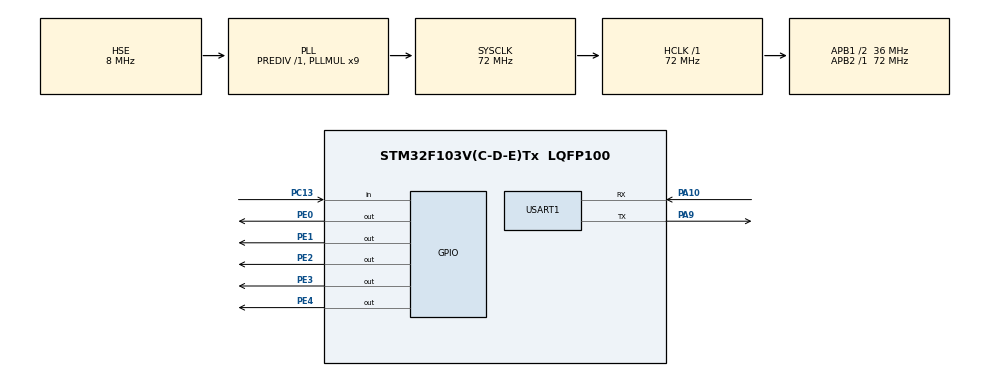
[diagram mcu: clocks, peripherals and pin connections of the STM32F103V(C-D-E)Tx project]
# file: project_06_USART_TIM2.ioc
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Mcu.Family=STM32F1
Mcu.Name=STM32F103V(C-D-E)Tx
Mcu.Package=LQFP100
NVIC.PriorityGroup=NVIC_PRIORITYGROUP_4
NVIC.TIM2_IRQn=true\:0\:0\:false\:false\:true\:true\:true
NVIC.USART1_IRQn=true\:0\:0\:false\:false\:true\:true\:true
OSC_IN.Mode=HSE-External-Oscillator
OSC_IN.Signal=RCC_OSC_IN
OSC_OUT.Mode=HSE-External-Oscillator
OSC_OUT.Signal=RCC_OSC_OUT
PA10.Mode=Asynchronous
PA10.Signal=USART1_RX
PA13.Mode=Serial_Wire
PA13.Signal=SYS_JTMS-SWDIO
PA14.Mode=Serial_Wire
PA14.Signal=SYS_JTCK-SWCLK
PA9.Mode=Asynchronous
PA9.Signal=USART1_TX
PC13-TAMPER-RTC.Signal=GPIO_Input
PC14-OSC32_IN.Mode=LSE-External-Oscillator
PC14-OSC32_IN.Signal=RCC_OSC32_IN
PC15-OSC32_OUT.Mode=LSE-External-Oscillator
PC15-OSC32_OUT.Signal=RCC_OSC32_OUT
PE0.GPIO_ModeDefaultOutputPP=GPIO_MODE_OUTPUT_PP
PE0.Signal=GPIO_Output
PE1.Signal=GPIO_Output
PE2.Signal=GPIO_Output
PE3.Signal=GPIO_Output
PE4.Signal=GPIO_Output
ProjectManager.HeapSize=0x200
ProjectManager.StackSize=0x400
ProjectManager.TargetToolchain=MDK-ARM V5
RCC.AHBFreq_Value=72000000
RCC.APB1CLKDivider=RCC_HCLK_DIV2
RCC.APB1Freq_Value=36000000
RCC.APB1TimFreq_Value=72000000
RCC.APB2Freq_Value=72000000
RCC.APB2TimFreq_Value=72000000
RCC.HCLKFreq_Value=72000000
RCC.PLLMUL=RCC_PLL_MUL9
RCC.PLLSourceVirtual=RCC_PLLSOURCE_HSE
RCC.SYSCLKFreq_VALUE=72000000
RCC.SYSCLKSource=RCC_SYSCLKSOURCE_PLLCLK
RCC.USBFreq_Value=72000000
TIM2.Period=5000-1
TIM2.Prescaler=72000000/10000-1
USART1.VirtualMode=VM_ASYNC
VP_TIM2_VS_ClockSourceINT.Mode=Internal
board=custom

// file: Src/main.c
/* USER CODE BEGIN Header */
/**
  ******************************************************************************
  * @file           : main.c
  * @brief          : Main program body
  ******************************************************************************
  * @attention
  *
  * <h2><center>&copy; Copyright (c) 2020 STMicroelectronics.
  * All rights reserved.</center></h2>
  *
  * This software component is licensed by ST under BSD 3-Clause license,
  * the "License"; You may not use this file except in compliance with the
  * License. You may obtain a copy of the License at:
  *                        opensource.org/licenses/BSD-3-Clause
  *
  ******************************************************************************
  */
/* USER CODE END Header */

#include "main.h"
#include "tim.h"
#include "usart.h"
#include "gpio.h"

/* USER CODE BEGIN Includes */
#include "stdio.h"
/* USER CODE END Includes */

void SystemClock_Config(void);

/* USER CODE BEGIN 0 */
#define LED1_ON() HAL_GPIO_WritePin(GPIOE,GPIO_PIN_0,GPIO_PIN_RESET)
#define LED1_OFF() HAL_GPIO_WritePin(GPIOE,GPIO_PIN_0,GPIO_PIN_SET)
#define LED2_ON() HAL_GPIO_WritePin(GPIOE,GPIO_PIN_1,GPIO_PIN_RESET)
#define LED2_OFF() HAL_GPIO_WritePin(GPIOE,GPIO_PIN_1,GPIO_PIN_SET)
#define LED3_TOG() HAL_GPIO_TogglePin(GPIOE,GPIO_PIN_2)
#define LED4_TOG() HAL_GPIO_TogglePin(GPIOE,GPIO_PIN_3)

uint8_t str1[] = "===============welcome Hellochen?================\r\n";
uint8_t hh = 0, mm = 0, ss = 0, ss05 = 0;
uint8_t str_buff[64];
uint8_t Rx_dat[16];

void checkLed() {
    LED1_ON();
    HAL_Delay(500);
    LED2_ON();
    HAL_Delay(500);

    LED1_OFF();
    HAL_Delay(500);
    LED2_OFF();
    HAL_Delay(500);
}

void HAL_TIM_PeriodElapsedCallback(TIM_HandleTypeDef *htim){
    LED3_TOG();
    LED4_TOG();
    //添加启动时间戳
    ss05++;
    if(ss05 == 2)
    {
        ss05 = 0;
        ss++;
        if(ss == 60)
        {
            ss = 0;
            mm++;
            if(mm == 60)
            {
                mm = 0;
                hh++;
            }
        }
    }
}
//接收回调函数
void HAL_UART_RxCpltCallback(UART_HandleTypeDef *huart)
{
    if(huart->Instance == USART1)
    {
        if(Rx_dat[0] == 0xBF && Rx_dat[2] == 0xFB)
        {
            switch(Rx_dat[1])
            {
                case 0xa1:
                    LED2_ON();
                    sprintf((char *)str_buff,"%d:%d:%d    LED2打开！\r\n",hh,mm,ss);
                    break;

                case 0xa2:
                    LED2_OFF();
                    sprintf((char *)str_buff,"%d:%d:%d    LED2关闭！\r\n",hh,mm,ss);
                    break;

                default:
                    sprintf((char *)str_buff,"%d:%d:%d    这是一个错误的命令！\r\n",hh,mm,ss);
                    break;
            }

            HAL_UART_Transmit(&huart1,str_buff,sizeof(str_buff),10000);
            HAL_UART_Receive_IT(&huart1,Rx_dat,3);
        }
    }
}
/* USER CODE END 0 */

int main(void) {

    /* MCU Configuration--------------------------------------------------------*/

    /* Reset of all peripherals, Initializes the Flash interface and the Systick. */
    HAL_Init();

    /* Configure the system clock */
    SystemClock_Config();

    /* Initialize all configured peripherals */
    MX_GPIO_Init();
    MX_TIM2_Init();
    MX_USART1_UART_Init();
    /* USER CODE BEGIN 2 */
    //功能一：检测灯
    checkLed();
    //功能二：向上位机发生字符串
    HAL_UART_Transmit(&huart1, str1, sizeof(str1), 10000);
    //功能三：串口收发数据
    HAL_TIM_Base_Start_IT(&htim2);
    HAL_UART_Receive_IT(&huart1,Rx_dat,3);
    /* USER CODE END 2 */

    /* Infinite loop */
    while (1) {

    }
}

void SystemClock_Config(void) {
    RCC_OscInitTypeDef RCC_OscInitStruct = {0};
    RCC_ClkInitTypeDef RCC_ClkInitStruct = {0};

    /** Initializes the CPU, AHB and APB busses clocks
    */
    RCC_OscInitStruct.OscillatorType = RCC_OSCILLATORTYPE_HSE;
    RCC_OscInitStruct.HSEState = RCC_HSE_ON;
    RCC_OscInitStruct.HSEPredivValue = RCC_HSE_PREDIV_DIV1;
    RCC_OscInitStruct.HSIState = RCC_HSI_ON;
    RCC_OscInitStruct.PLL.PLLState = RCC_PLL_ON;
    RCC_OscInitStruct.PLL.PLLSource = RCC_PLLSOURCE_HSE;
    RCC_OscInitStruct.PLL.PLLMUL = RCC_PLL_MUL9;
    if (HAL_RCC_OscConfig(&RCC_OscInitStruct) != HAL_OK) {
        Error_Handler();
    }
    /** Initializes the CPU, AHB and APB busses clocks
    */
    RCC_ClkInitStruct.ClockType = RCC_CLOCKTYPE_HCLK | RCC_CLOCKTYPE_SYSCLK
                                  | RCC_CLOCKTYPE_PCLK1 | RCC_CLOCKTYPE_PCLK2;
    RCC_ClkInitStruct.SYSCLKSource = RCC_SYSCLKSOURCE_PLLCLK;
    RCC_ClkInitStruct.AHBCLKDivider = RCC_SYSCLK_DIV1;
    RCC_ClkInitStruct.APB1CLKDivider = RCC_HCLK_DIV2;
    RCC_ClkInitStruct.APB2CLKDivider = RCC_HCLK_DIV1;

    if (HAL_RCC_ClockConfig(&RCC_ClkInitStruct, FLASH_LATENCY_2) != HAL_OK) {
        Error_Handler();
    }
}

void Error_Handler(void) {
}

/************************ (C) COPYRIGHT STMicroelectronics *****END OF FILE****/
